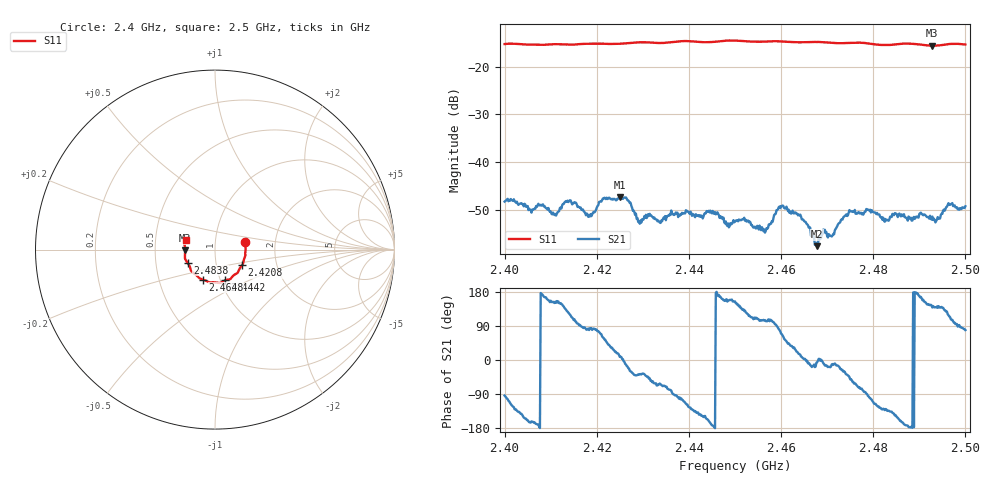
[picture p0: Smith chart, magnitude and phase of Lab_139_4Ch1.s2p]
# Hz S RI R 50
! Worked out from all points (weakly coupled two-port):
!   601 points, 2.4 GHz to 2.5 GHz, reference 50 ohm
!   highest |S21| = -47.35 dB at 2.425 GHz (marker M1); lowest = -57.6 dB at 2.4678 GHz (marker M2)
!   lowest |S11| = -15.6 dB at 2.4928 GHz (marker M3), VSWR 1.40, Z = 35.8 - j0.357 ohm
!   |S11| at or under -10 dB: start of sweep to end of sweep
!   S12 and S22 are empty: the file has one direction only
!   S11 on the Smith chart (normalised r, x): 2.4 GHz: 1.40, +0.12; 2.4208 GHz: 1.33, -0.24; 2.4442 GHz: 1.05, -0.37; 2.4648 GHz: 0.83, -0.29; 2.4838 GHz: 0.73, -0.11; 2.5 GHz: 0.72, +0.08
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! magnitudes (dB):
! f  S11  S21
! 2.4 GHz  -15.3  -48.3
! 2.4107 GHz  -15.3  -50.9
! 2.4138 GHz  -15.4  -48.4
! 2.4167 GHz  -15.3  -50.0
! 2.4187 GHz  -15.2  -50.9
! 2.4208 GHz  -15.2  -48.2
! 2.425 GHz  -15.2  -47.3
! 2.4292 GHz  -14.9  -52.5
! 2.4333 GHz  -15.0  -52.2
! 2.4442 GHz  -14.9  -50.4
! 2.45 GHz  -14.5  -52.5
! 2.4567 GHz  -14.7  -54.4
! 2.46 GHz  -14.7  -49.2
! 2.4648 GHz  -14.9  -52.1
! 2.4667 GHz  -14.8  -54.9
! 2.4678 GHz  -14.8  -57.6
! 2.4752 GHz  -15.0  -50.3
! 2.4833 GHz  -15.5  -52.3
! 2.4838 GHz  -15.4  -51.4
! 2.4928 GHz  -15.6  -51.4
! 2.4967 GHz  -15.2  -48.9
! 2.5 GHz  -15.4  -49.2
